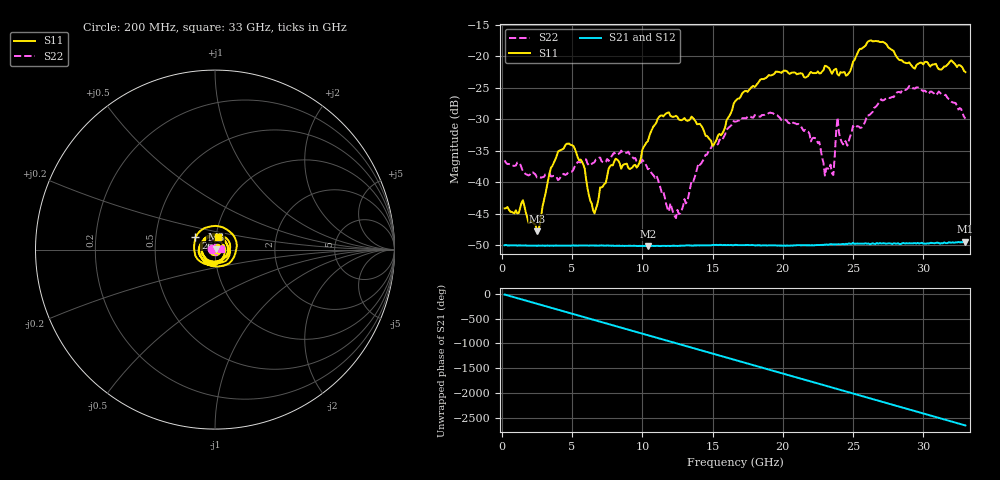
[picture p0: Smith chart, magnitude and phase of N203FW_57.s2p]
# GHZ S RI R 50
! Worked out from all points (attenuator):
!   329 points, 200 MHz to 33 GHz, reference 50 ohm
!   highest |S21| = -49.41 dB at 33 GHz (marker M1); lowest = -50.1 dB at 10.4 GHz (marker M2)
!   lowest |S11| = -47.7 dB at 2.5 GHz (marker M3), VSWR 1.01, Z = 50.4 + j0.188 ohm
!   |S11| at or under -10 dB: start of sweep to end of sweep
!   |S22| runs from -45.7 to -24.7 dB; largest |S21 - S12| = 8.8e-05
!   S11 on the Smith chart (normalised r, x): 200 MHz: 1.01, +0.00; 26 GHz: 0.80, +0.11; 33 GHz: 1.03, +0.15
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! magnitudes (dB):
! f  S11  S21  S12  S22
! 200 MHz  -44.1  -50.0  -49.9  -36.5
! 1.5 GHz  -42.8  -50.0  -50.0  -38.2
! 2.5 GHz  -47.7  -50.1  -50.0  -39.2
! 4 GHz  -35.1  -50.0  -50.0  -39.6
! 5.7 GHz  -36.7  -50.0  -50.0  -36.7
! 6.6 GHz  -44.9  -50.0  -50.0  -36.8
! 7.7 GHz  -37.4  -50.0  -50.0  -36.3
! 9.6 GHz  -37.7  -50.1  -50.1  -36.7
! 10.4 GHz  -33.5  -50.1  -50.1  -37.9
! 11.2 GHz  -29.6  -50.1  -50.1  -40.2
! 12.4 GHz  -29.4  -50.1  -50.1  -45.7
! 15 GHz  -34.2  -49.9  -49.9  -34.0
! 16.6 GHz  -27.2  -49.9  -49.9  -30.4
! 19.3 GHz  -22.9  -50.0  -50.0  -29.0
! 22.1 GHz  -22.7  -50.0  -50.0  -33.0
! 23.6 GHz  -22.3  -49.8  -49.8  -38.8
! 23.9 GHz  -22.9  -49.8  -49.8  -29.7
! 24.6 GHz  -23.0  -49.8  -49.7  -34.2
! 26 GHz  -17.8  -49.7  -49.7  -29.4
! 27.6 GHz  -18.7  -49.7  -49.7  -26.6
! 31.1 GHz  -22.0  -49.6  -49.4  -25.6
! 33 GHz  -22.5  -49.4  -49.4  -29.9
